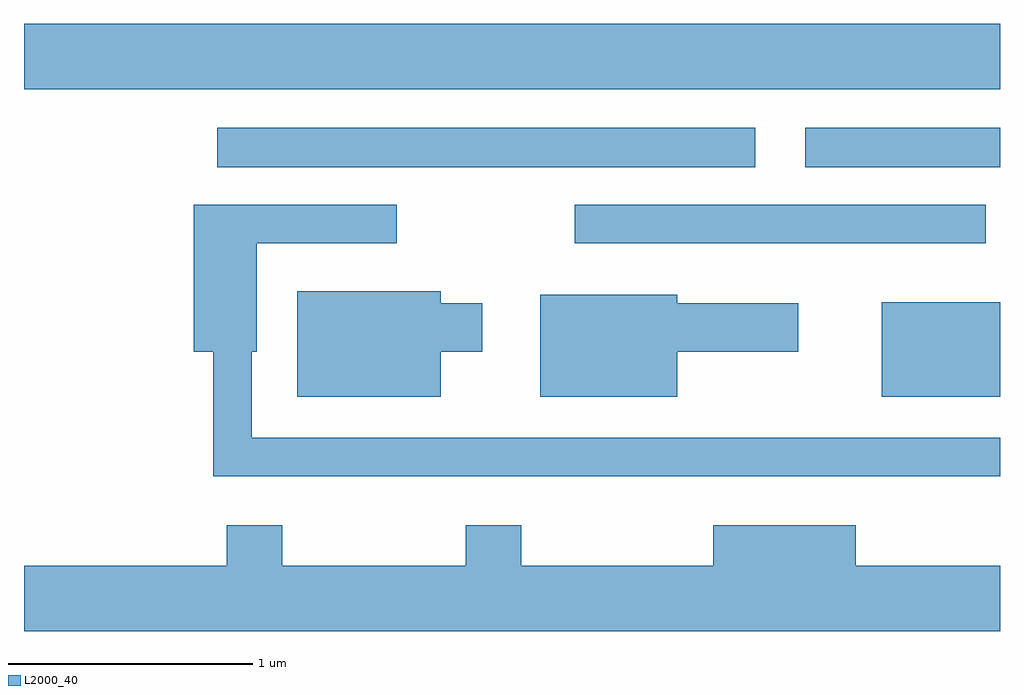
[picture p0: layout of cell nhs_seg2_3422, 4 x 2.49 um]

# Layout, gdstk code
import gdstk
lib = gdstk.Library(unit=1e-6, precision=1e-09)
def R(c, l, rs):  # rectangles x0, y0, x1, y1
    for r in rs: c.add(gdstk.rectangle(r[:2], r[2:], *l))
def P(c, l, *ps):  # polygons
    for p in ps: c.add(gdstk.Polygon(p, *l))
L2000_40 = (2000, 40)

nhs_seg2_3422 = lib.new_cell('nhs_seg2_3422')
R(nhs_seg2_3422, L2000_40, [(289.126,1035.956,289.611,1036.344), (287.868,1036.586,289.553,1036.744), (286.403,1036.896,288.608,1037.059), (288.813,1036.896,289.611,1037.059), (285.611,1037.216,289.611,1037.484)])
P(nhs_seg2_3422, L2000_40, [(289.611,1035.789),(286.544,1035.789),(286.544,1036.141),(286.564,1036.141),(286.564,1036.586),(287.138,1036.586),(287.138,1036.744),(286.306,1036.744),(286.306,1036.141),(286.386,1036.141),(286.386,1035.631),(289.611,1035.631)],
  [(287.319,1036.141),(287.489,1036.141),(287.489,1036.339),(287.319,1036.339),(287.319,1036.389),(286.731,1036.389),(286.731,1035.956),(287.319,1035.956)],
  [(288.289,1036.141),(288.784,1036.141),(288.784,1036.339),(288.289,1036.339),(288.289,1036.374),(287.726,1036.374),(287.726,1035.956),(288.289,1035.956)],
  [(289.611,1035.264),(289.019,1035.264),(289.019,1035.429),(288.436,1035.429),(288.436,1035.264),(287.649,1035.264),(287.649,1035.429),(287.421,1035.429),(287.421,1035.264),(286.669,1035.264),(286.669,1035.429),(286.441,1035.429),(286.441,1035.264),(285.611,1035.264),(285.611,1034.996),(289.611,1034.996)])

lib.write_gds('nhs_seg2_3422.gds')
